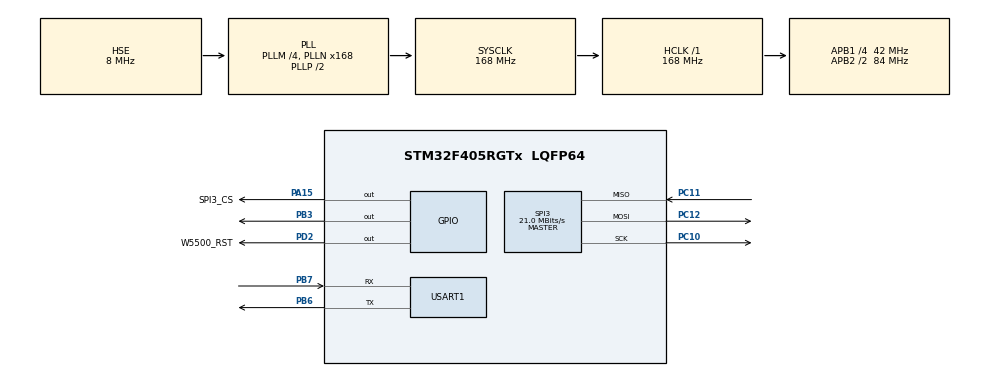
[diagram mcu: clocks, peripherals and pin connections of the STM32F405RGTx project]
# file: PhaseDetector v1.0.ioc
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Mcu.Family=STM32F4
Mcu.Name=STM32F405RGTx
Mcu.Package=LQFP64
NVIC.PriorityGroup=NVIC_PRIORITYGROUP_4
NVIC.TIM1_BRK_TIM9_IRQn=true\:0\:0\:false\:false\:true\:true\:true
NVIC.TIM2_IRQn=true\:0\:0\:false\:false\:true\:true\:true
NVIC.TIM3_IRQn=true\:0\:0\:false\:false\:true\:true\:true
NVIC.TIM4_IRQn=true\:0\:0\:false\:false\:true\:true\:true
NVIC.TIM8_BRK_TIM12_IRQn=true\:0\:0\:false\:false\:true\:true\:true
PA13.Mode=Serial_Wire
PA13.Signal=SYS_JTMS-SWDIO
PA14.Mode=Serial_Wire
PA14.Signal=SYS_JTCK-SWCLK
PA15.GPIO_Label=SPI3_CS
PA15.GPIO_Speed=GPIO_SPEED_FREQ_HIGH
PA15.PinState=GPIO_PIN_SET
PA15.Signal=GPIO_Output
PB3.GPIO_Speed=GPIO_SPEED_FREQ_HIGH
PB3.PinState=GPIO_PIN_SET
PB3.Signal=GPIO_Output
PB6.Mode=Asynchronous
PB6.Signal=USART1_TX
PB7.Mode=Asynchronous
PB7.Signal=USART1_RX
PC10.Mode=Full_Duplex_Master
PC10.Signal=SPI3_SCK
PC11.Mode=Full_Duplex_Master
PC11.Signal=SPI3_MISO
PC12.Mode=Full_Duplex_Master
PC12.Signal=SPI3_MOSI
PD2.GPIO_Label=W5500_RST
PD2.GPIO_Speed=GPIO_SPEED_FREQ_HIGH
PD2.PinState=GPIO_PIN_SET
PD2.Signal=GPIO_Output
PH0-OSC_IN.Mode=HSE-External-Oscillator
PH0-OSC_IN.Signal=RCC_OSC_IN
PH1-OSC_OUT.Mode=HSE-External-Oscillator
PH1-OSC_OUT.Signal=RCC_OSC_OUT
ProjectManager.HeapSize=0x200
ProjectManager.StackSize=0x400
ProjectManager.TargetToolchain=STM32CubeIDE
RCC.48MHZClocksFreq_Value=84000000
RCC.AHBFreq_Value=168000000
RCC.APB1CLKDivider=RCC_HCLK_DIV4
RCC.APB1Freq_Value=42000000
RCC.APB1TimFreq_Value=84000000
RCC.APB2CLKDivider=RCC_HCLK_DIV2
RCC.APB2Freq_Value=84000000
RCC.APB2TimFreq_Value=168000000
RCC.CortexFreq_Value=168000000
RCC.HCLKFreq_Value=168000000
RCC.HSE_VALUE=8000000
RCC.HSI_VALUE=16000000
RCC.LSE_VALUE=32768
RCC.PLLM=4
RCC.PLLN=168
RCC.PLLSourceVirtual=RCC_PLLSOURCE_HSE
RCC.SYSCLKFreq_VALUE=168000000
RCC.SYSCLKSource=RCC_SYSCLKSOURCE_PLLCLK
RCC.VCOOutputFreq_Value=336000000
SPI3.CalculateBaudRate=21.0 MBits/s
SPI3.Direction=SPI_DIRECTION_2LINES
SPI3.Mode=SPI_MODE_MASTER
SPI3.VirtualType=VM_MASTER
TIM12.Period=65535
TIM12.Prescaler=1
TIM2.Period=65535
TIM2.Prescaler=1
TIM3.Prescaler=1
TIM4.Prescaler=1
TIM9.Period=65535
TIM9.Prescaler=0
USART1.VirtualMode=VM_ASYNC
VP_TIM12_VS_ClockSourceINT.Mode=Internal
VP_TIM2_VS_ClockSourceINT.Mode=Internal
VP_TIM3_VS_ClockSourceINT.Mode=Internal
VP_TIM4_VS_ClockSourceINT.Mode=Internal
VP_TIM9_VS_ClockSourceINT.Mode=Internal
board=custom

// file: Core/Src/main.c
/* USER CODE BEGIN Header */
/**
  ******************************************************************************
  * @file           : main.c
  * @brief          : Main program body
  ******************************************************************************
  * @attention
  *
  * <h2><center>&copy; Copyright (c) 2021 STMicroelectronics.
  * All rights reserved.</center></h2>
  *
  * This software component is licensed by ST under BSD 3-Clause license,
  * the "License"; You may not use this file except in compliance with the
  * License. You may obtain a copy of the License at:
  *                        opensource.org/licenses/BSD-3-Clause
  *
  ******************************************************************************
  */
/* USER CODE END Header */
#include "main.h"

/* USER CODE BEGIN Includes */
#include "pin_description.h"
#include "wizchip_init.h"
/* USER CODE END Includes */

SPI_HandleTypeDef hspi3;

TIM_HandleTypeDef htim2;
TIM_HandleTypeDef htim3;
TIM_HandleTypeDef htim4;
TIM_HandleTypeDef htim9;
TIM_HandleTypeDef htim12;

UART_HandleTypeDef huart1;

void SystemClock_Config(void);
static void MX_GPIO_Init(void);
static void MX_SPI3_Init(void);
static void MX_TIM9_Init(void);
static void MX_TIM12_Init(void);
static void MX_TIM2_Init(void);
static void MX_TIM3_Init(void);
static void MX_TIM4_Init(void);
static void MX_USART1_UART_Init(void);
/* USER CODE BEGIN PFP */
static void GPIO_Init(void);
/* USER CODE END PFP */

int main(void)
{

  /* MCU Configuration--------------------------------------------------------*/

  /* Reset of all peripherals, Initializes the Flash interface and the Systick. */
  HAL_Init();

  /* Configure the system clock */
  SystemClock_Config();

  /* Initialize all configured peripherals */
  MX_GPIO_Init();
  MX_SPI3_Init();
  MX_TIM9_Init();
  MX_TIM12_Init();
  MX_TIM2_Init();
  MX_TIM3_Init();
  MX_TIM4_Init();
  MX_USART1_UART_Init();
  /* USER CODE BEGIN 2 */
  GPIO_Init();
  //WizchIP_main(&hspi3,SPI3_CS_GPIO_Port, SPI3_CS_Pin, &huart1);

  /* USER CODE END 2 */

  /* Infinite loop */
  while (1)
  {

  }
}

void SystemClock_Config(void)
{
  RCC_OscInitTypeDef RCC_OscInitStruct = {0};
  RCC_ClkInitTypeDef RCC_ClkInitStruct = {0};

  /** Configure the main internal regulator output voltage
  */
  __HAL_RCC_PWR_CLK_ENABLE();
  __HAL_PWR_VOLTAGESCALING_CONFIG(PWR_REGULATOR_VOLTAGE_SCALE1);
  /** Initializes the RCC Oscillators according to the specified parameters
  * in the RCC_OscInitTypeDef structure.
  */
  RCC_OscInitStruct.OscillatorType = RCC_OSCILLATORTYPE_HSE;
  RCC_OscInitStruct.HSEState = RCC_HSE_ON;
  RCC_OscInitStruct.PLL.PLLState = RCC_PLL_ON;
  RCC_OscInitStruct.PLL.PLLSource = RCC_PLLSOURCE_HSE;
  RCC_OscInitStruct.PLL.PLLM = 4;
  RCC_OscInitStruct.PLL.PLLN = 168;
  RCC_OscInitStruct.PLL.PLLP = RCC_PLLP_DIV2;
  RCC_OscInitStruct.PLL.PLLQ = 4;
  if (HAL_RCC_OscConfig(&RCC_OscInitStruct) != HAL_OK)
  {
    Error_Handler();
  }
  /** Initializes the CPU, AHB and APB buses clocks
  */
  RCC_ClkInitStruct.ClockType = RCC_CLOCKTYPE_HCLK|RCC_CLOCKTYPE_SYSCLK
                              |RCC_CLOCKTYPE_PCLK1|RCC_CLOCKTYPE_PCLK2;
  RCC_ClkInitStruct.SYSCLKSource = RCC_SYSCLKSOURCE_PLLCLK;
  RCC_ClkInitStruct.AHBCLKDivider = RCC_SYSCLK_DIV1;
  RCC_ClkInitStruct.APB1CLKDivider = RCC_HCLK_DIV4;
  RCC_ClkInitStruct.APB2CLKDivider = RCC_HCLK_DIV2;

  if (HAL_RCC_ClockConfig(&RCC_ClkInitStruct, FLASH_LATENCY_5) != HAL_OK)
  {
    Error_Handler();
  }
}

static void MX_SPI3_Init(void)
{

  /* SPI3 parameter configuration*/
  hspi3.Instance = SPI3;
  hspi3.Init.Mode = SPI_MODE_MASTER;
  hspi3.Init.Direction = SPI_DIRECTION_2LINES;
  hspi3.Init.DataSize = SPI_DATASIZE_8BIT;
  hspi3.Init.CLKPolarity = SPI_POLARITY_LOW;
  hspi3.Init.CLKPhase = SPI_PHASE_1EDGE;
  hspi3.Init.NSS = SPI_NSS_SOFT;
  hspi3.Init.BaudRatePrescaler = SPI_BAUDRATEPRESCALER_2;
  hspi3.Init.FirstBit = SPI_FIRSTBIT_MSB;
  hspi3.Init.TIMode = SPI_TIMODE_DISABLE;
  hspi3.Init.CRCCalculation = SPI_CRCCALCULATION_DISABLE;
  hspi3.Init.CRCPolynomial = 10;
  if (HAL_SPI_Init(&hspi3) != HAL_OK)
  {
    Error_Handler();
  }

}

static void MX_TIM2_Init(void)
{

  TIM_ClockConfigTypeDef sClockSourceConfig = {0};
  TIM_MasterConfigTypeDef sMasterConfig = {0};

  htim2.Instance = TIM2;
  htim2.Init.Prescaler = 1;
  htim2.Init.CounterMode = TIM_COUNTERMODE_UP;
  htim2.Init.Period = 65535;
  htim2.Init.ClockDivision = TIM_CLOCKDIVISION_DIV1;
  htim2.Init.AutoReloadPreload = TIM_AUTORELOAD_PRELOAD_DISABLE;
  if (HAL_TIM_Base_Init(&htim2) != HAL_OK)
  {
    Error_Handler();
  }
  sClockSourceConfig.ClockSource = TIM_CLOCKSOURCE_INTERNAL;
  if (HAL_TIM_ConfigClockSource(&htim2, &sClockSourceConfig) != HAL_OK)
  {
    Error_Handler();
  }
  sMasterConfig.MasterOutputTrigger = TIM_TRGO_RESET;
  sMasterConfig.MasterSlaveMode = TIM_MASTERSLAVEMODE_DISABLE;
  if (HAL_TIMEx_MasterConfigSynchronization(&htim2, &sMasterConfig) != HAL_OK)
  {
    Error_Handler();
  }

}

static void MX_TIM3_Init(void)
{

  TIM_ClockConfigTypeDef sClockSourceConfig = {0};
  TIM_MasterConfigTypeDef sMasterConfig = {0};

  htim3.Instance = TIM3;
  htim3.Init.Prescaler = 1;
  htim3.Init.CounterMode = TIM_COUNTERMODE_UP;
  htim3.Init.Period = 65535;
  htim3.Init.ClockDivision = TIM_CLOCKDIVISION_DIV1;
  htim3.Init.AutoReloadPreload = TIM_AUTORELOAD_PRELOAD_DISABLE;
  if (HAL_TIM_Base_Init(&htim3) != HAL_OK)
  {
    Error_Handler();
  }
  sClockSourceConfig.ClockSource = TIM_CLOCKSOURCE_INTERNAL;
  if (HAL_TIM_ConfigClockSource(&htim3, &sClockSourceConfig) != HAL_OK)
  {
    Error_Handler();
  }
  sMasterConfig.MasterOutputTrigger = TIM_TRGO_RESET;
  sMasterConfig.MasterSlaveMode = TIM_MASTERSLAVEMODE_DISABLE;
  if (HAL_TIMEx_MasterConfigSynchronization(&htim3, &sMasterConfig) != HAL_OK)
  {
    Error_Handler();
  }

}

static void MX_TIM4_Init(void)
{

  TIM_ClockConfigTypeDef sClockSourceConfig = {0};
  TIM_MasterConfigTypeDef sMasterConfig = {0};

  htim4.Instance = TIM4;
  htim4.Init.Prescaler = 1;
  htim4.Init.CounterMode = TIM_COUNTERMODE_UP;
  htim4.Init.Period = 65535;
  htim4.Init.ClockDivision = TIM_CLOCKDIVISION_DIV1;
  htim4.Init.AutoReloadPreload = TIM_AUTORELOAD_PRELOAD_DISABLE;
  if (HAL_TIM_Base_Init(&htim4) != HAL_OK)
  {
    Error_Handler();
  }
  sClockSourceConfig.ClockSource = TIM_CLOCKSOURCE_INTERNAL;
  if (HAL_TIM_ConfigClockSource(&htim4, &sClockSourceConfig) != HAL_OK)
  {
    Error_Handler();
  }
  sMasterConfig.MasterOutputTrigger = TIM_TRGO_RESET;
  sMasterConfig.MasterSlaveMode = TIM_MASTERSLAVEMODE_DISABLE;
  if (HAL_TIMEx_MasterConfigSynchronization(&htim4, &sMasterConfig) != HAL_OK)
  {
    Error_Handler();
  }

}

static void MX_TIM9_Init(void)
{

  TIM_ClockConfigTypeDef sClockSourceConfig = {0};

  htim9.Instance = TIM9;
  htim9.Init.Prescaler = 0;
  htim9.Init.CounterMode = TIM_COUNTERMODE_UP;
  htim9.Init.Period = 65535;
  htim9.Init.ClockDivision = TIM_CLOCKDIVISION_DIV1;
  htim9.Init.AutoReloadPreload = TIM_AUTORELOAD_PRELOAD_DISABLE;
  if (HAL_TIM_Base_Init(&htim9) != HAL_OK)
  {
    Error_Handler();
  }
  sClockSourceConfig.ClockSource = TIM_CLOCKSOURCE_INTERNAL;
  if (HAL_TIM_ConfigClockSource(&htim9, &sClockSourceConfig) != HAL_OK)
  {
    Error_Handler();
  }

}

static void MX_TIM12_Init(void)
{

  TIM_ClockConfigTypeDef sClockSourceConfig = {0};

  htim12.Instance = TIM12;
  htim12.Init.Prescaler = 1;
  htim12.Init.CounterMode = TIM_COUNTERMODE_UP;
  htim12.Init.Period = 65535;
  htim12.Init.ClockDivision = TIM_CLOCKDIVISION_DIV1;
  htim12.Init.AutoReloadPreload = TIM_AUTORELOAD_PRELOAD_DISABLE;
  if (HAL_TIM_Base_Init(&htim12) != HAL_OK)
  {
    Error_Handler();
  }
  sClockSourceConfig.ClockSource = TIM_CLOCKSOURCE_INTERNAL;
  if (HAL_TIM_ConfigClockSource(&htim12, &sClockSourceConfig) != HAL_OK)
  {
    Error_Handler();
  }

}

static void MX_USART1_UART_Init(void)
{

  huart1.Instance = USART1;
  huart1.Init.BaudRate = 115200;
  huart1.Init.WordLength = UART_WORDLENGTH_8B;
  huart1.Init.StopBits = UART_STOPBITS_1;
  huart1.Init.Parity = UART_PARITY_NONE;
  huart1.Init.Mode = UART_MODE_TX_RX;
  huart1.Init.HwFlowCtl = UART_HWCONTROL_NONE;
  huart1.Init.OverSampling = UART_OVERSAMPLING_16;
  if (HAL_UART_Init(&huart1) != HAL_OK)
  {
    Error_Handler();
  }

}

static void MX_GPIO_Init(void)
{
  GPIO_InitTypeDef GPIO_InitStruct = {0};

  /* GPIO Ports Clock Enable */
  __HAL_RCC_GPIOH_CLK_ENABLE();
  __HAL_RCC_GPIOA_CLK_ENABLE();
  __HAL_RCC_GPIOC_CLK_ENABLE();
  __HAL_RCC_GPIOD_CLK_ENABLE();
  __HAL_RCC_GPIOB_CLK_ENABLE();

  /*Configure GPIO pin Output Level */
  HAL_GPIO_WritePin(SPI3_CS_GPIO_Port, SPI3_CS_Pin, GPIO_PIN_SET);

  /*Configure GPIO pin Output Level */
  HAL_GPIO_WritePin(W5500_RST_GPIO_Port, W5500_RST_Pin, GPIO_PIN_SET);

  /*Configure GPIO pin Output Level */
  HAL_GPIO_WritePin(GPIOB, GPIO_PIN_3, GPIO_PIN_SET);

  /*Configure GPIO pin : SPI3_CS_Pin */
  GPIO_InitStruct.Pin = SPI3_CS_Pin;
  GPIO_InitStruct.Mode = GPIO_MODE_OUTPUT_PP;
  GPIO_InitStruct.Pull = GPIO_NOPULL;
  GPIO_InitStruct.Speed = GPIO_SPEED_FREQ_HIGH;
  HAL_GPIO_Init(SPI3_CS_GPIO_Port, &GPIO_InitStruct);

  /*Configure GPIO pin : W5500_RST_Pin */
  GPIO_InitStruct.Pin = W5500_RST_Pin;
  GPIO_InitStruct.Mode = GPIO_MODE_OUTPUT_PP;
  GPIO_InitStruct.Pull = GPIO_NOPULL;
  GPIO_InitStruct.Speed = GPIO_SPEED_FREQ_HIGH;
  HAL_GPIO_Init(W5500_RST_GPIO_Port, &GPIO_InitStruct);

  /*Configure GPIO pin : PB3 */
  GPIO_InitStruct.Pin = GPIO_PIN_3;
  GPIO_InitStruct.Mode = GPIO_MODE_OUTPUT_PP;
  GPIO_InitStruct.Pull = GPIO_NOPULL;
  GPIO_InitStruct.Speed = GPIO_SPEED_FREQ_HIGH;
  HAL_GPIO_Init(GPIOB, &GPIO_InitStruct);

}

/* USER CODE BEGIN 4 */

static void GPIO_Init(void)
{

  /* GPIO Ports Clock Enable */
  __HAL_RCC_GPIOH_CLK_ENABLE();
  __HAL_RCC_GPIOA_CLK_ENABLE();
  __HAL_RCC_GPIOB_CLK_ENABLE();
  __HAL_RCC_GPIOC_CLK_ENABLE();
  __HAL_RCC_GPIOD_CLK_ENABLE();

  HAL_NVIC_SetPriority(EXTI0_IRQn, 0, 0);
  HAL_NVIC_EnableIRQ(EXTI0_IRQn);

  HAL_NVIC_SetPriority(EXTI1_IRQn, 0, 0);
  HAL_NVIC_EnableIRQ(EXTI1_IRQn);

  HAL_NVIC_SetPriority(EXTI2_IRQn, 0, 0);
  HAL_NVIC_EnableIRQ(EXTI2_IRQn);

   HAL_NVIC_SetPriority(EXTI3_IRQn, 0, 0);
   HAL_NVIC_EnableIRQ(EXTI3_IRQn);

   for( int8_t i = 0; i < MIXER_PIN_COUNT; i++)	 GPIO_PIN_INIT(Bus_Mixer + i);
   for( int8_t i = 0; i < WIZNET_PIN_COUNT; i++) GPIO_PIN_INIT(Bus_WizNet_SPI + i);
   GPIO_PIN_SET(Bus_Mixer + PRUPX);
   GPIO_PIN_SET(Bus_Mixer + PRUPY);
   GPIO_PIN_SET(Bus_Mixer + PRUPZ);
   GPIO_PIN_SET(Bus_Mixer + PRUPA);
   WizchIP_main(&hspi3,SPI3_CS_GPIO_Port, SPI3_CS_Pin, &huart1);
}

/* USER CODE END 4 */

void Error_Handler(void)
{
}

/************************ (C) COPYRIGHT STMicroelectronics *****END OF FILE****/
